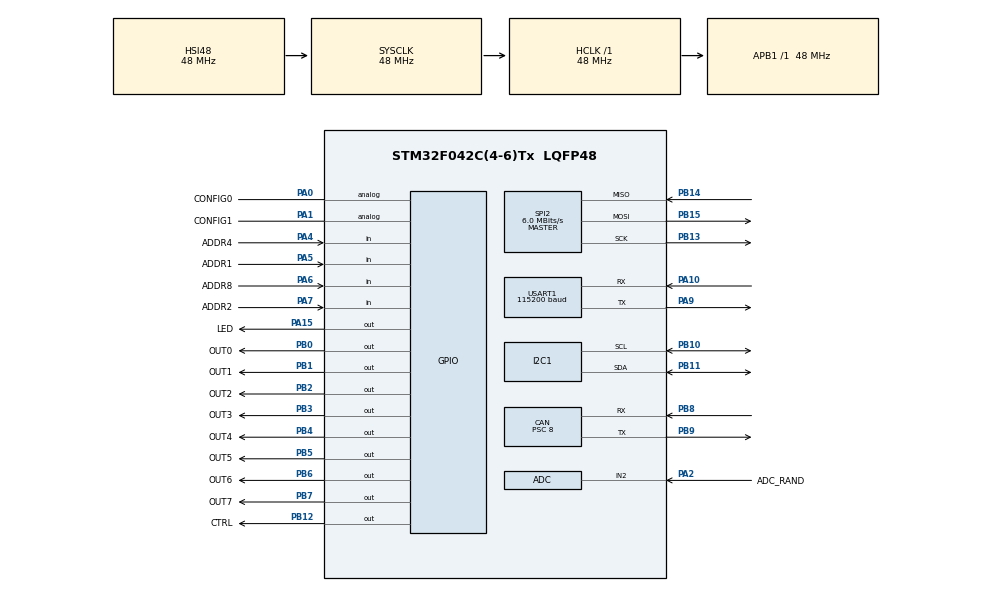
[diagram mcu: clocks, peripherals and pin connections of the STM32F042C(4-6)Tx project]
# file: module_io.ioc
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CAN.BS1=CAN_BS1_2TQ
CAN.BS2=CAN_BS2_3TQ
CAN.CalculateBaudRate=1000000
CAN.CalculateTimeBit=1000
CAN.CalculateTimeQuantum=166.66666666666666
CAN.Mode=CAN_MODE_NORMAL
CAN.NART=ENABLE
CAN.Prescaler=8
Mcu.Family=STM32F0
Mcu.Name=STM32F042C(4-6)Tx
Mcu.Package=LQFP48
NVIC.CEC_CAN_IRQn=true\:0\:0\:false\:false\:true\:true\:true\:true
PA0.GPIO_Label=CONFIG0
PA0.Signal=GPIO_Analog
PA1.GPIO_Label=CONFIG1
PA1.Signal=GPIO_Analog
PA10.Mode=Asynchronous
PA10.Signal=USART1_RX
PA15.GPIO_Label=LED
PA15.Signal=GPIO_Output
PA2.GPIO_Label=ADC_RAND
PA2.Mode=IN2
PA2.Signal=ADC_IN2
PA4.GPIO_Label=ADDR4
PA4.GPIO_PuPd=GPIO_PULLDOWN
PA4.Signal=GPIO_Input
PA5.GPIO_Label=ADDR1
PA5.GPIO_PuPd=GPIO_PULLDOWN
PA5.Signal=GPIO_Input
PA6.GPIO_Label=ADDR8
PA6.GPIO_PuPd=GPIO_PULLDOWN
PA6.Signal=GPIO_Input
PA7.GPIO_Label=ADDR2
PA7.GPIO_PuPd=GPIO_PULLDOWN
PA7.Signal=GPIO_Input
PA9.Mode=Asynchronous
PA9.Signal=USART1_TX
PB0.GPIO_Label=OUT0
PB0.Signal=GPIO_Output
PB1.GPIO_Label=OUT1
PB1.Signal=GPIO_Output
PB10.Mode=I2C
PB10.Signal=I2C1_SCL
PB11.Mode=I2C
PB11.Signal=I2C1_SDA
PB12.GPIO_Label=CTRL
PB12.PinState=GPIO_PIN_SET
PB12.Signal=GPIO_Output
PB13.Mode=Full_Duplex_Master
PB13.Signal=SPI2_SCK
PB14.Mode=Full_Duplex_Master
PB14.Signal=SPI2_MISO
PB15.Mode=Full_Duplex_Master
PB15.Signal=SPI2_MOSI
PB2.GPIO_Label=OUT2
PB2.Signal=GPIO_Output
PB3.GPIO_Label=OUT3
PB3.Signal=GPIO_Output
PB4.GPIO_Label=OUT4
PB4.Signal=GPIO_Output
PB5.GPIO_Label=OUT5
PB5.Signal=GPIO_Output
PB6.GPIO_Label=OUT6
PB6.Signal=GPIO_Output
PB7.GPIO_Label=OUT7
PB7.Signal=GPIO_Output
PB8.Mode=CAN_Activate
PB8.Signal=CAN_RX
PB9.Mode=CAN_Activate
PB9.Signal=CAN_TX
PF0-OSC_IN.Mode=HSE-External-Oscillator
PF0-OSC_IN.Signal=RCC_OSC_IN
PF1-OSC_OUT.Mode=HSE-External-Oscillator
PF1-OSC_OUT.Signal=RCC_OSC_OUT
ProjectManager.HeapSize=0x200
ProjectManager.StackSize=0x400
ProjectManager.TargetToolchain=CMake
RCC.AHBFreq_Value=48000000
RCC.APB1Freq_Value=48000000
RCC.APB1TimFreq_Value=48000000
RCC.HCLKFreq_Value=48000000
RCC.HSE_VALUE=16000000
RCC.PLLMUL=RCC_PLL_MUL3
RCC.PLLSourceVirtual=RCC_PLLSOURCE_HSE
RCC.SYSCLKFreq_VALUE=48000000
RCC.SYSCLKSource=RCC_SYSCLKSOURCE_HSI48
SPI2.BaudRatePrescaler=SPI_BAUDRATEPRESCALER_8
SPI2.CalculateBaudRate=6.0 MBits/s
SPI2.DataSize=SPI_DATASIZE_8BIT
SPI2.Direction=SPI_DIRECTION_2LINES
SPI2.Mode=SPI_MODE_MASTER
SPI2.VirtualType=VM_MASTER
USART1.BaudRate=115200
USART1.SwapParam=ADVFEATURE_SWAP_DISABLE
USART1.VirtualMode-Asynchronous=VM_ASYNC
VP_ADC_TempSens_Input.Mode=IN-TempSens
board=custom

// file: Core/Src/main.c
/* USER CODE BEGIN Header */
/**
        ***********doesn*******************************************************************
        * @file           : main.c
        * @brief          : Main program body
        ******************************************************************************
        * @attention
        *
        * Copyright (c) 2024 STMicroelectronics.
        * All rights reserved.
        *
        * This software is licensed under terms that can be found in the LICENSE file
        * in the root directory of this software component.
        * If no LICENSE file comes with this software, it is provided AS-IS.
        *
        ******************************************************************************
        */
/* USER CODE END Header */
#include "main.h"
#include "adc.h"
#include "can.h"
#include "i2c.h"
#include "spi.h"
#include "usart.h"
#include "gpio.h"

/* USER CODE BEGIN Includes */
#include "uprintf.h"
/* USER CODE END Includes */

/* USER CODE BEGIN PV */

// This can't go inside the function. Doesn't work if it does. Don't do it.
CAN_FilterTypeDef sFilterConfig; //declare CAN filter structure

/* USER CODE END PV */

void SystemClock_Config(void);

/* USER CODE BEGIN 0 */
void initPeripherials(void) {
        HAL_Init();
        // Set up clocks
        SystemClock_Config();

        MX_GPIO_Init();
        MX_ADC_Init();
        MX_CAN_Init();
#ifdef CONFIG_I2C
        MX_I2C1_Init();
#endif
#ifdef CONFIG_ADC
        MX_SPI2_Init();
#endif
        MX_USART1_UART_Init();
}

/* USER CODE END 0 */

void SystemClock_Config(void)
{
  RCC_OscInitTypeDef RCC_OscInitStruct = {0};
  RCC_ClkInitTypeDef RCC_ClkInitStruct = {0};
  RCC_PeriphCLKInitTypeDef PeriphClkInit = {0};

  /** Initializes the RCC Oscillators according to the specified parameters
  * in the RCC_OscInitTypeDef structure.
  */
  RCC_OscInitStruct.OscillatorType = RCC_OSCILLATORTYPE_HSI|RCC_OSCILLATORTYPE_HSI14
                              |RCC_OSCILLATORTYPE_HSI48;
  RCC_OscInitStruct.HSIState = RCC_HSI_ON;
  RCC_OscInitStruct.HSI48State = RCC_HSI48_ON;
  RCC_OscInitStruct.HSI14State = RCC_HSI14_ON;
  RCC_OscInitStruct.HSICalibrationValue = RCC_HSICALIBRATION_DEFAULT;
  RCC_OscInitStruct.HSI14CalibrationValue = 16;
  RCC_OscInitStruct.PLL.PLLState = RCC_PLL_NONE;
  if (HAL_RCC_OscConfig(&RCC_OscInitStruct) != HAL_OK)
  {
    Error_Handler();
  }

  /** Initializes the CPU, AHB and APB buses clocks
  */
  RCC_ClkInitStruct.ClockType = RCC_CLOCKTYPE_HCLK|RCC_CLOCKTYPE_SYSCLK
                              |RCC_CLOCKTYPE_PCLK1;
  RCC_ClkInitStruct.SYSCLKSource = RCC_SYSCLKSOURCE_HSI48;
  RCC_ClkInitStruct.AHBCLKDivider = RCC_SYSCLK_DIV1;
  RCC_ClkInitStruct.APB1CLKDivider = RCC_HCLK_DIV1;

  if (HAL_RCC_ClockConfig(&RCC_ClkInitStruct, FLASH_LATENCY_1) != HAL_OK)
  {
    Error_Handler();
  }
  PeriphClkInit.PeriphClockSelection = RCC_PERIPHCLK_USART1|RCC_PERIPHCLK_I2C1;
  PeriphClkInit.Usart1ClockSelection = RCC_USART1CLKSOURCE_PCLK1;
  PeriphClkInit.I2c1ClockSelection = RCC_I2C1CLKSOURCE_HSI;
  if (HAL_RCCEx_PeriphCLKConfig(&PeriphClkInit) != HAL_OK)
  {
    Error_Handler();
  }
}

void Error_Handler(void)
{
  /* USER CODE BEGIN Error_Handler_Debug */
        /* User can add his own implementation to report the HAL error return state */
        uprintf("\nAn error has occurred!\nThe program will halt now.\n");
        HAL_Delay(15);
        __disable_irq();
        while (1)
        {
        }
  /* USER CODE END Error_Handler_Debug */
}
